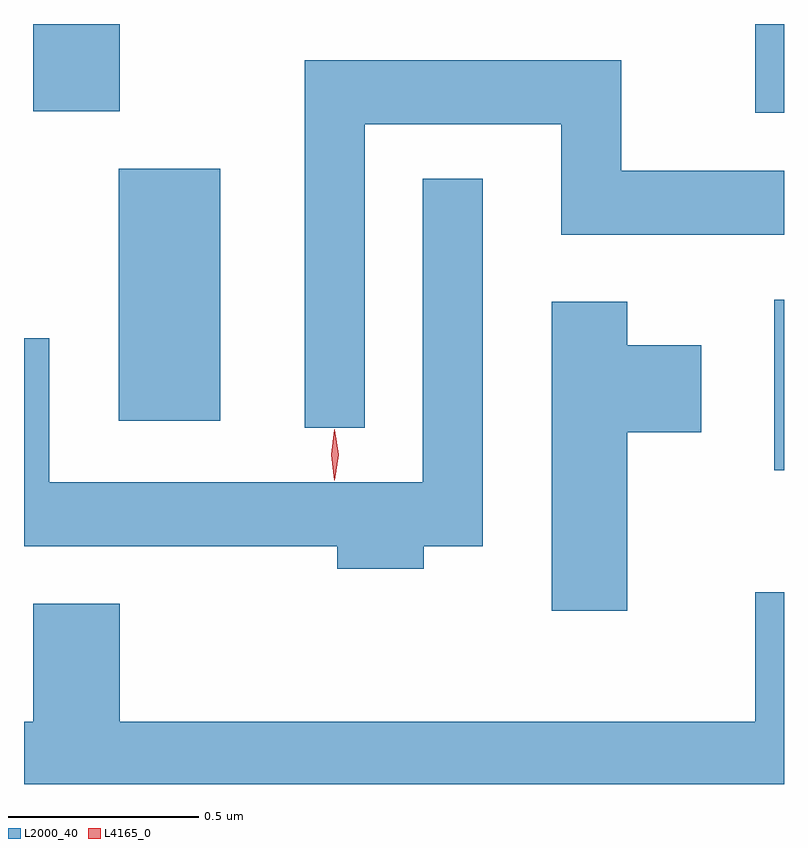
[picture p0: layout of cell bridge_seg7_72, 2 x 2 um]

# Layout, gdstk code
import gdstk
lib = gdstk.Library(unit=1e-6, precision=1e-09)
def R(c, l, rs):  # rectangles x0, y0, x1, y1
    for r in rs: c.add(gdstk.rectangle(r[:2], r[2:], *l))
def P(c, l, *ps):  # polygons
    for p in ps: c.add(gdstk.Polygon(p, *l))
L2000_40 = (2000, 40)
L4165_0 = (4165, 0)

bridge_seg7_72 = lib.new_cell('bridge_seg7_72')
R(bridge_seg7_72, L2000_40, [(1631.501,1779.626,1631.527,1780.074), (1629.776,1779.756,1630.044,1780.419), (1631.451,1780.566,1631.527,1780.8), (1629.551,1780.571,1629.779,1780.8)])
P(bridge_seg7_72, L2000_40, [(1630.424,1780.536),(1630.941,1780.536),(1630.941,1780.246),(1631.527,1780.246),(1631.527,1780.414),(1631.099,1780.414),(1631.099,1780.704),(1630.266,1780.704),(1630.266,1779.738),(1630.424,1779.738)],
  [(1630.579,1779.426),(1630.734,1779.426),(1630.734,1780.393),(1630.576,1780.393),(1630.576,1779.594),(1629.594,1779.594),(1629.594,1779.973),(1629.527,1779.973),(1629.527,1779.426),(1630.351,1779.426),(1630.351,1779.366),(1630.579,1779.366)],
  [(1631.114,1779.726),(1631.309,1779.726),(1631.309,1779.954),(1631.114,1779.954),(1631.114,1780.069),(1630.916,1780.069),(1630.916,1779.256),(1631.114,1779.256)],
  [(1629.779,1779.274),(1629.551,1779.274),(1629.551,1778.964),(1629.527,1778.964),(1629.527,1778.8),(1631.527,1778.8),(1631.527,1779.304),(1631.451,1779.304),(1631.451,1778.964),(1629.779,1778.964)])
P(bridge_seg7_72, L4165_0, [(1630.345,1779.599),(1630.344,1779.6),(1630.335,1779.666),(1630.344,1779.732),(1630.345,1779.733),(1630.345,1779.732),(1630.355,1779.666),(1630.345,1779.6)])

lib.write_gds('bridge_seg7_72.gds')
